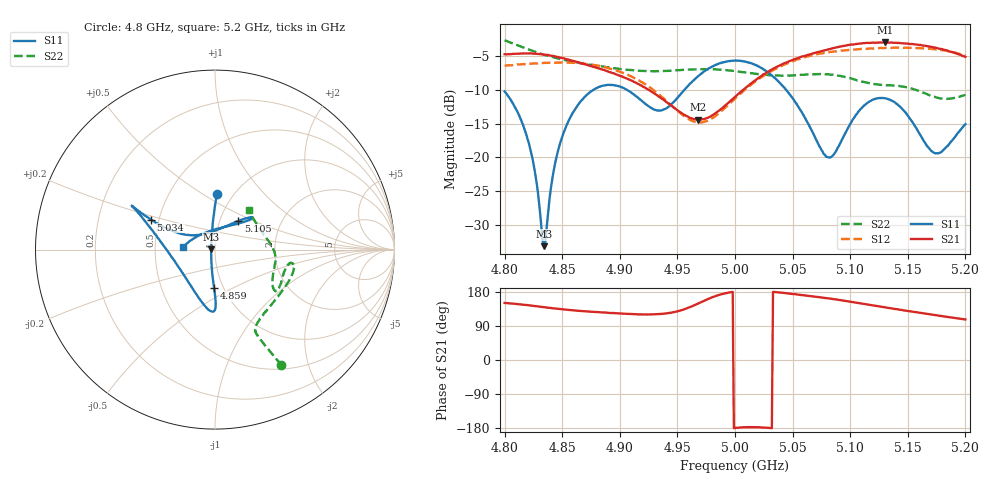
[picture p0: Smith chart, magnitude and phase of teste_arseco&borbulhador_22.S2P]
! Network Analyzer HP8722D
! Hewlett-Packard
! Data name: Linha & Wilkinson
! Saver's name: Rodrigo Anjos
! Comments: Teste da utilização de aquisição
! continua pelo VNA HP8722D
! Time and date: 15/4/2025 15:49
!  Frequency  S11  S21  S12  S22
# HZ  S  MA R 50
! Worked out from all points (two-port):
!   401 points, 4.8 GHz to 5.2 GHz, reference 50 ohm
!   highest |S21| = -2.91 dB at 5.13 GHz (marker M1); lowest = -14.4 dB at 4.968 GHz (marker M2)
!   |S21| within 3 dB of the highest: start of sweep to 4.865 GHz; 5.044 GHz to end of sweep
!   lowest |S11| = -33.2 dB at 4.834 GHz (marker M3), VSWR 1.04, Z = 47.9 + j0.24 ohm
!   |S11| at or under -10 dB: start of sweep to 4.877 GHz; 4.907 GHz to 4.956 GHz (49.34 MHz wide, 1 % of centre); 5.045 GHz to end of sweep
!   |S22| runs from -11.3 to -2.6 dB; largest |S21 - S12| = 1.3
!   S11 on the Smith chart (normalised r, x): 4.8 GHz: 0.84, +0.57; 4.859 GHz: 0.90, -0.40; 5.034 GHz: 0.45, +0.18; 5.105 GHz: 1.22, +0.41; 5.2 GHz: 0.70, +0.02
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4.8e9  0.3092 88.1  0.5841 150.5  0.4802 -111.4  0.7398 -60.1
4.812e9  0.2105 91.3  0.5893 147.2  0.4899 -111.1  0.6768 -61.2
4.821e9  0.128 96.3  0.5922 144.3  0.4971 -110.7  0.6339 -61.8
4.827e9  0.07148 105.2  0.5891 142.1  0.4996 -110.1  0.6062 -62.4
4.834e9  0.02186 173.4  0.5804 139.5  0.5036 -109.5  0.5803 -62.9
4.836e9  0.02725 -142.7  0.5779 138.6  0.5044 -109.4  0.5735 -63.0
4.841e9  0.0656 -108.3  0.5687 136.7  0.5054 -109.1  0.5579 -63.3
4.845e9  0.1001 -100.6  0.5597 135.5  0.5066 -108.8  0.5471 -63.5
4.859e9  0.213 -91.6  0.5222 131.2  0.5041 -108.6  0.5144 -63.8
4.867e9  0.2661 -89.7  0.5006 129.3  0.4988 -108.6  0.5008 -63.3
4.895e9  0.3437 -93.7  0.4212 124.1  0.4478 -111.5  0.4593 -57.1
4.934e9  0.2232 -145.9  0.2821 121.2  0.2941 -116.3  0.4368 -35.5
4.968e9  0.4013 159.5  0.1907 148.9  0.1818 -86.9  0.4517 -17.2
5e9  0.5245 152.3  0.2814 -179.6  0.2736 -49.9  0.4374 -9.9
5.034e9  0.3937 154.8  0.4597 179.4  0.4492 -43.4  0.4065 -15.4
5.067e9  0.1559 149.1  0.5904 168.1  0.5741 -46.6  0.4138 -29.3
5.083e9  0.1001 101.6  0.6394 161.7  0.6074 -49.6  0.4117 -33.8
5.105e9  0.2067 50.8  0.6952 151.4  0.6343 -54.4  0.3766 -31.7
5.13e9  0.2754 40.2  0.7157 139.1  0.6507 -62.1  0.3443 -15.4
5.134e9  0.269 39.9  0.7122 137.1  0.6515 -63.4  0.343 -12.6
5.174e9  0.107 104.6  0.6548 118.6  0.6346 -77.4  0.2802 20.0
5.2e9  0.1764 174.5  0.5578 106.9  0.5712 -86.2  0.2913 49.9
